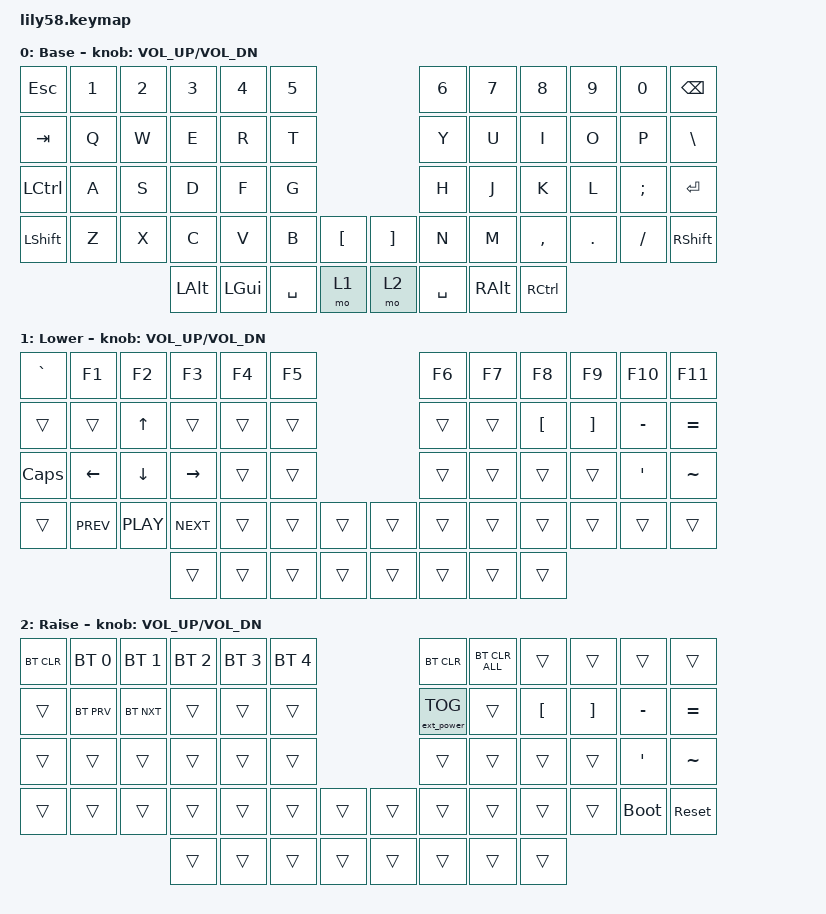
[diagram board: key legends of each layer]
/*
 * Copyright (c) 2020 The ZMK Contributors
 *
 * SPDX-License-Identifier: MIT
 */

#include <behaviors.dtsi>
#include <dt-bindings/zmk/bt.h>
#include <dt-bindings/zmk/ext_power.h>
#include <dt-bindings/zmk/keys.h>

/ {
    keymap {
        compatible = "zmk,keymap";

        default_layer {
            // ------------------------------------------------------------------------------------------------------------
            // |  ESC  |  1  |  2  |  3   |  4   |  5   |                   |  6   |  7    |  8    |  9   |   0   |   `   |
            // |  TAB  |  Q  |  W  |  E   |  R   |  T   |                   |  Y   |  U    |  I    |  O   |   P   |   -   |
            // |  CTRL |  A  |  S  |  D   |  F   |  G   |                   |  H   |  J    |  K    |  L   |   ;   |   '   |
            // | SHIFT |  Z  |  X  |  C   |  V   |  B   |   "["  |  |  "]"  |  N   |  M    |  ,    |  .   |   /   | SHIFT |
            //                     | ALT  | GUI  | LOWER|  SPACE |  | ENTER | RAISE| BSPC  | GUI   |

            display-name = "Base";
            bindings = <
&kp ESC           &kp N1  &kp N2  &kp N3        &kp N4        &kp N5                           &kp N6     &kp N7         &kp N8             &kp N9   &kp N0    &kp BACKSPACE
&kp TAB           &kp Q   &kp W   &kp E         &kp R         &kp T                            &kp Y      &kp U          &kp I              &kp O    &kp P     &kp BACKSLASH
&kp LEFT_CONTROL  &kp A   &kp S   &kp D         &kp F         &kp G                            &kp H      &kp J          &kp K              &kp L    &kp SEMI  &kp ENTER
&kp LSHFT         &kp Z   &kp X   &kp C         &kp V         &kp B      &kp LBKT    &kp RBKT  &kp N      &kp M          &kp COMMA          &kp DOT  &kp FSLH  &kp RSHFT
                                  &kp LEFT_ALT  &kp LEFT_GUI  &kp SPACE  &mo 1       &mo 2     &kp SPACE  &kp RIGHT_ALT  &kp RIGHT_CONTROL
            >;

            sensor-bindings = <&inc_dec_kp C_VOL_UP C_VOL_DN>;
        };

        lower_layer {
            // ------------------------------------------------------------------------------------------------------------
            // | BTCLR | BT1 | BT2 |  BT3 |  BT4 |  BT5 |                   |      |       |       |      |       |       |
            // |  F1   |  F2 |  F3 |  F4  |  F5  |  F6  |                   |  F7  |  F8   |  F9   |  F10 |  F11  |  F12  |
            // |   `   |  !  |  @  |  #   |  $   |  %   |                   |  ^   |  &    |  *    |  (   |   )   |   ~   |
            // |       |     |     |      |      |      |        |  |       |      |  _    |  +    |  {   |   }   |  "|"  |
            //                     |      |      |      |        |  |       |      |       |       |

            display-name = "Lower";
            bindings = <
&kp GRAVE  &kp F1      &kp F2        &kp F3      &kp F4  &kp F5                    &kp F6  &kp F7  &kp F8            &kp F9             &kp F10    &kp F11
&trans     &trans      &kp UP_ARROW  &trans      &trans  &trans                    &trans  &trans  &kp LEFT_BRACKET  &kp RIGHT_BRACKET  &kp MINUS  &kp EQUAL
&kp CAPS   &kp LEFT    &kp DOWN      &kp RIGHT   &trans  &trans                    &trans  &trans  &trans            &trans             &kp APOS   &kp TILDE
&trans     &kp C_PREV  &kp C_PLAY    &kp C_NEXT  &trans  &trans  &trans    &trans  &trans  &trans  &trans            &trans             &trans     &trans
                                     &trans      &trans  &trans  &trans    &trans  &trans  &trans  &trans
            >;

            sensor-bindings = <&inc_dec_kp C_VOL_UP C_VOL_DN>;
        };

        raise_layer {
            // ------------------------------------------------------------------------------------------------------------
            // |       |     |     |      |      |      |                   |      |       |       |      |       |       |
            // |   `   |  1  |  2  |  3   |  4   |  5   |                   |  6   |   7   |   8   |  9   |   0   |       |
            // |   F1  |  F2 |  F3 |  F4  |  F5  |  F6  |                   |      |   <-  |   v   |  ^   |  ->   |       |
            // |   F7  |  F8 |  F9 |  F10 |  F11 |  F12 |        |  |       |  +   |   -   |   =   |  [   |   ]   |   \   |
            //                     |      |      |      |        |  |       |      |       |       |

            display-name = "Raise";
            bindings = <
&bt BT_CLR  &bt BT_SEL 0  &bt BT_SEL 1  &bt BT_SEL 2  &bt BT_SEL 3  &bt BT_SEL 4                    &bt BT_CLR         &bt BT_CLR_ALL  &trans            &trans             &trans       &trans
&trans      &bt BT_PRV    &bt BT_NXT    &trans        &trans        &trans                          &ext_power EP_TOG  &trans          &kp LEFT_BRACKET  &kp RIGHT_BRACKET  &kp MINUS    &kp EQUAL
&trans      &trans        &trans        &trans        &trans        &trans                          &trans             &trans          &trans            &trans             &kp APOS     &kp TILDE
&trans      &trans        &trans        &trans        &trans        &trans        &trans    &trans  &trans             &trans          &trans            &trans             &bootloader  &sys_reset
                                        &trans        &trans        &trans        &trans    &trans  &trans             &trans          &trans
            >;

            sensor-bindings = <&inc_dec_kp C_VOL_UP C_VOL_DN>;
        };
    };
};
